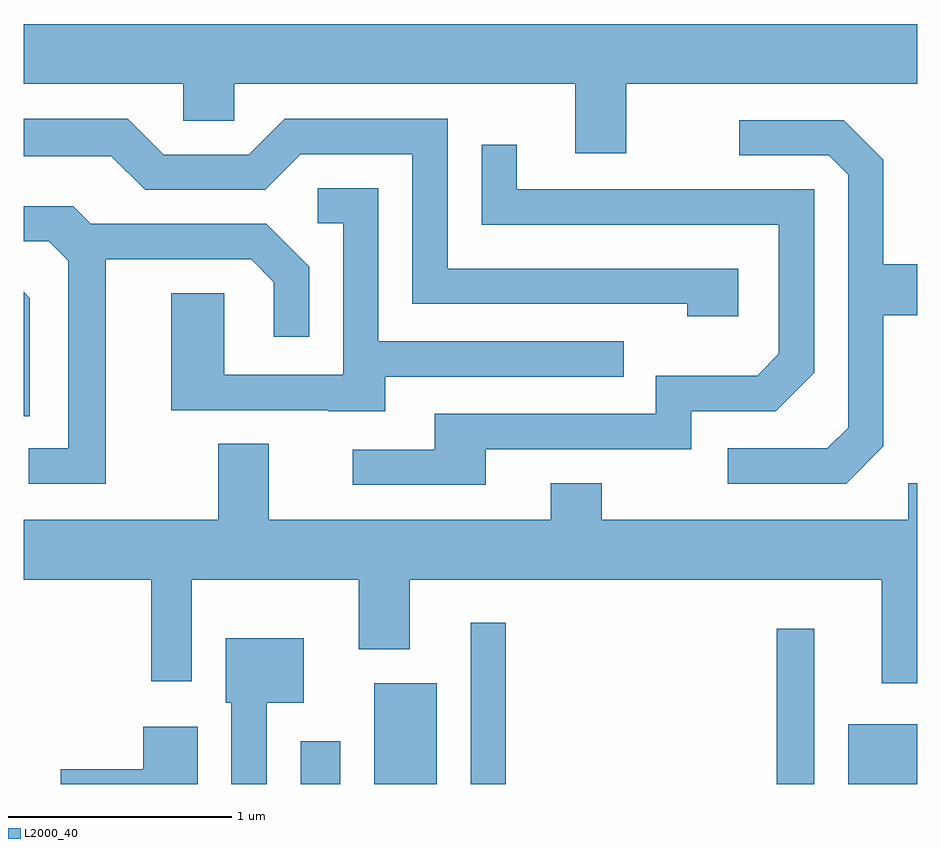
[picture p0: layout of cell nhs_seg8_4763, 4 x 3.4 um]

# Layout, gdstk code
import gdstk
lib = gdstk.Library(unit=1e-6, precision=1e-09)
def R(c, l, rs):  # rectangles x0, y0, x1, y1
    for r in rs: c.add(gdstk.rectangle(r[:2], r[2:], *l))
def P(c, l, *ps):  # polygons
    for p in ps: c.add(gdstk.Polygon(p, *l))
L2000_40 = (2000, 40)

nhs_seg8_4763 = lib.new_cell('nhs_seg8_4763')
R(nhs_seg8_4763, L2000_40, [(328.851,1884.342,329.029,1884.534), (329.181,1884.342,329.459,1884.794), (329.611,1884.342,329.769,1885.063), (330.981,1884.342,331.149,1885.038), (331.301,1884.342,331.611,1884.609)])
P(nhs_seg8_4763, L2000_40, [(330.309,1887.476),(331.611,1887.476),(331.611,1887.744),(327.611,1887.744),(327.611,1887.476),(328.326,1887.476),(328.326,1887.311),(328.554,1887.311),(328.554,1887.476),(330.081,1887.476),(330.081,1887.166),(330.309,1887.166)],
  [(330.809,1886.649),(329.509,1886.649),(329.509,1887.319),(328.779,1887.319),(328.619,1887.159),(328.237,1887.159),(328.077,1887.319),(327.611,1887.319),(327.611,1887.151),(328.004,1887.151),(328.154,1887.001),(328.692,1887.001),(328.852,1887.161),(329.351,1887.161),(329.351,1886.491),(330.581,1886.491),(330.581,1886.436),(330.809,1886.436)],
  [(331.459,1885.854),(331.459,1886.441),(331.611,1886.441),(331.611,1886.669),(331.459,1886.669),(331.459,1887.137),(331.282,1887.314),(330.813,1887.314),(330.813,1887.156),(331.214,1887.156),(331.301,1887.069),(331.301,1885.937),(331.209,1885.844),(330.763,1885.844),(330.763,1885.686),(331.292,1885.686)],
  [(329.679,1885.841),(330.599,1885.841),(330.599,1886.011),(330.977,1886.011),(331.149,1886.184),(331.149,1887.004),(329.819,1887.004),(329.819,1887.203),(329.661,1887.203),(329.661,1886.846),(330.991,1886.846),(330.991,1886.267),(330.894,1886.169),(330.441,1886.169),(330.441,1885.999),(329.451,1885.999),(329.451,1885.839),(329.083,1885.839),(329.083,1885.681),(329.679,1885.681)],
  [(329.229,1886.166),(330.298,1886.166),(330.298,1886.324),(329.199,1886.324),(329.199,1887.009),(328.928,1887.009),(328.928,1886.851),(329.041,1886.851),(329.041,1886.174),(328.509,1886.174),(328.509,1886.539),(328.271,1886.539),(328.271,1886.016),(328.975,1886.016),(328.975,1886.011),(329.229,1886.011)],
  [(327.979,1886.691),(328.629,1886.691),(328.731,1886.589),(328.731,1886.343),(328.889,1886.343),(328.889,1886.657),(328.697,1886.849),(327.912,1886.849),(327.832,1886.929),(327.611,1886.929),(327.611,1886.771),(327.724,1886.771),(327.811,1886.684),(327.811,1885.844),(327.633,1885.844),(327.633,1885.686),(327.979,1885.686)],
  [(327.639,1886.517),(327.611,1886.545),(327.611,1885.988),(327.639,1885.988)],
  [(331.611,1885.689),(331.571,1885.689),(331.571,1885.524),(330.199,1885.524),(330.199,1885.689),(329.971,1885.689),(329.971,1885.524),(328.709,1885.524),(328.709,1885.864),(328.481,1885.864),(328.481,1885.524),(327.611,1885.524),(327.611,1885.256),(328.181,1885.256),(328.181,1884.801),(328.364,1884.801),(328.364,1885.256),(329.111,1885.256),(329.111,1884.946),(329.339,1884.946),(329.339,1885.256),(331.451,1885.256),(331.451,1884.793),(331.611,1884.793)],
  [(328.699,1884.706),(328.864,1884.706),(328.864,1884.994),(328.516,1884.994),(328.516,1884.706),(328.541,1884.706),(328.541,1884.342),(328.699,1884.342)],
  [(328.389,1884.599),(328.146,1884.599),(328.146,1884.409),(327.776,1884.409),(327.776,1884.342),(328.389,1884.342)])

lib.write_gds('nhs_seg8_4763.gds')
